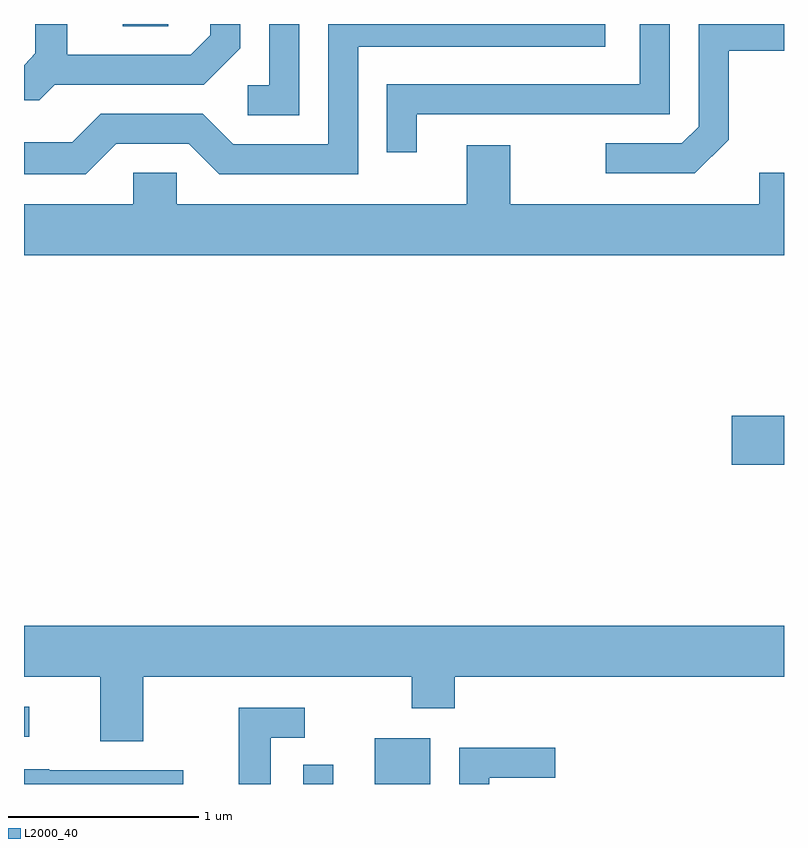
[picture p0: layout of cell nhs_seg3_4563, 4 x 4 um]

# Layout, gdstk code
import gdstk
lib = gdstk.Library(unit=1e-6, precision=1e-09)
def R(c, l, rs):  # rectangles x0, y0, x1, y1
    for r in rs: c.add(gdstk.rectangle(r[:2], r[2:], *l))
def P(c, l, *ps):  # polygons
    for p in ps: c.add(gdstk.Polygon(p, *l))
L2000_40 = (2000, 40)

nhs_seg3_4563 = lib.new_cell('nhs_seg3_4563')
R(nhs_seg3_4563, L2000_40, [(321.081,1129.892,321.239,1129.993), (321.456,1129.892,321.749,1130.134), (319.611,1130.141,319.638,1130.299), (323.336,1131.571,323.611,1131.829), (320.131,1133.881,320.369,1133.892)])
P(nhs_seg3_4563, L2000_40, [(321.679,1133.416),(323.009,1133.416),(323.009,1133.892),(322.851,1133.892),(322.851,1133.574),(321.521,1133.574),(321.521,1133.218),(321.679,1133.218)],
  [(321.059,1133.892),(320.901,1133.892),(320.901,1133.569),(320.788,1133.569),(320.788,1133.411),(321.059,1133.411)],
  [(319.772,1133.571),(320.557,1133.571),(320.749,1133.764),(320.749,1133.892),(320.591,1133.892),(320.591,1133.832),(320.489,1133.729),(319.839,1133.729),(319.839,1133.892),(319.671,1133.892),(319.671,1133.737),(319.611,1133.676),(319.611,1133.491),(319.692,1133.491)],
  [(320.097,1133.261),(320.479,1133.261),(320.639,1133.101),(321.369,1133.101),(321.369,1133.771),(322.669,1133.771),(322.669,1133.892),(321.211,1133.892),(321.211,1133.259),(320.712,1133.259),(320.552,1133.419),(320.014,1133.419),(319.864,1133.269),(319.611,1133.269),(319.611,1133.101),(319.937,1133.101)],
  [(323.319,1133.284),(323.319,1133.751),(323.611,1133.751),(323.611,1133.892),(323.161,1133.892),(323.161,1133.352),(323.074,1133.264),(322.673,1133.264),(322.673,1133.106),(323.142,1133.106)],
  [(323.611,1133.109),(323.481,1133.109),(323.481,1132.944),(322.169,1132.944),(322.169,1133.254),(321.941,1133.254),(321.941,1132.944),(320.414,1132.944),(320.414,1133.109),(320.186,1133.109),(320.186,1132.944),(319.611,1132.944),(319.611,1132.676),(323.611,1132.676)],
  [(320.239,1130.456),(321.651,1130.456),(321.651,1130.291),(321.879,1130.291),(321.879,1130.456),(323.611,1130.456),(323.611,1130.724),(319.611,1130.724),(319.611,1130.456),(320.011,1130.456),(320.011,1130.116),(320.239,1130.116)],
  [(320.909,1130.136),(321.088,1130.136),(321.088,1130.294),(320.741,1130.294),(320.741,1129.892),(320.909,1129.892)],
  [(322.059,1129.926),(322.408,1129.926),(322.408,1130.084),(321.901,1130.084),(321.901,1129.892),(322.059,1129.892)],
  [(320.449,1129.964),(319.745,1129.964),(319.745,1129.969),(319.611,1129.969),(319.611,1129.892),(320.449,1129.892)])

lib.write_gds('nhs_seg3_4563.gds')
